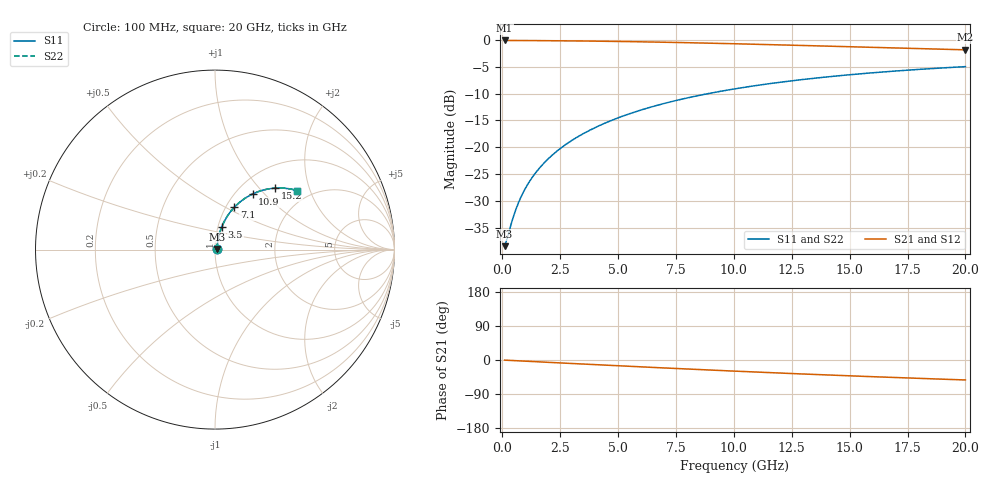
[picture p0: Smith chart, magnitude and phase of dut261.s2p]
! Touchstone file exported from HFSS 2026.1.0
!  File:  C:/ffzhzh/LocalFiles/Ansys_Project_Files/temp_train_TMRDL_261_1782984993_6248.aedt
!  Generated:  05:37:46 PM Jul  2, 2026
!  Design:  TMRDL
!  Project:  temp_train_TMRDL_261_1782984993_6248
! Variables:
!  h_bsmrdl = 2um
!  h_ox = 20um
!  h_rdl = 5um
!  h_sub = 80um
!  h_tmrdl = 2.1um
!  h_tsv = 80um
!  h_via = 3um
!  l_bsmrdl = 300um
!  l_sub = 1133.39um
!  l_tmrdl = 733.39um
!  m_sub = 200um
!  pitch = 39.82um
!  r_tsv = 6um
!  s_tmrdl = 10um
!  w_bsmrdl = 18um
!  w_sub = 500um
!  w_tmrdl = 10.89um
!  x_tsv_center1 = 738.835um
!  x_tsv_center2 = 1056.835um
!  x_tsv_center3 = 1801.115um
!  x_tsv_center4 = 2119.115um
!  x_tsv_center5 = 2863.395um
!  x_tsv_center6 = 3181.395um
# GHz S MA R 50.000000
! Terminal data exported
! Port[1] = TM_RDL1_1_T1
! Port[2] = TM_RDL1_1_T2
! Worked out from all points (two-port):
!   200 points, 100 MHz to 20 GHz, reference 50 ohm
!   highest |S21| = -0.10 dB at 100 MHz (marker M1); lowest = -1.8 dB at 20 GHz (marker M2)
!   |S21| within 3 dB of the highest: start of sweep to end of sweep
!   lowest |S11| = -38.4 dB at 100 MHz (marker M3), VSWR 1.02, Z = 51.1 + j0.409 ohm
!   |S11| at or under -10 dB: start of sweep to 8.896 GHz
!   |S22| runs from -38.4 to -5.0 dB; largest |S21 - S12| = 2.7e-15
!   S11 on the Smith chart (normalised r, x): 100 MHz: 1.02, +0.01; 3.5 GHz: 1.04, +0.27; 7.1 GHz: 1.10, +0.55; 10.9 GHz: 1.19, +0.86; 15.2 GHz: 1.37, +1.22; 20 GHz: 1.70, +1.64
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0.1  0.01197 19.5  0.9887 -0.3  0.9887 -0.3  0.01197 19.5
! Gamma 0 0 0 0
! Port Impedance 50 0 50 0
0.2  0.01392 35.0  0.9887 -0.6  0.9887 -0.6  0.01392 35.0
0.5  0.02324 58.4  0.9882 -1.6  0.9882 -1.6  0.02324 58.4
0.7  0.03042 64.7  0.9877 -2.2  0.9877 -2.2  0.03042 64.7
1  0.04148 69.6  0.9869 -3.1  0.9869 -3.1  0.04148 69.6
1.3  0.05262 72.0  0.986 -4.1  0.986 -4.1  0.05262 72.0
1.7  0.06748 73.6  0.9848 -5.3  0.9848 -5.3  0.06747 73.6
2.2  0.08603 74.3  0.9831 -6.8  0.9831 -6.8  0.08603 74.3
2.8  0.1082 74.2  0.9806 -8.6  0.9806 -8.6  0.1082 74.2
3.5  0.1339 73.3  0.9773 -10.7  0.9773 -10.7  0.1339 73.3
4.2  0.1593 72.1  0.9733 -12.8  0.9733 -12.8  0.1593 72.1
5  0.1878 70.4  0.9681 -15.2  0.9681 -15.2  0.1878 70.5
5.9  0.2192 68.4  0.9613 -17.8  0.9613 -17.8  0.2192 68.4
6.8  0.2496 66.2  0.9537 -20.4  0.9537 -20.4  0.2495 66.2
7.1  0.2595 65.4  0.9511 -21.3  0.9511 -21.3  0.2595 65.5
8.5  0.3041 61.9  0.9376 -25.2  0.9376 -25.2  0.3041 61.9
10.1  0.3517 57.9  0.9206 -29.5  0.9206 -29.5  0.3517 57.9
10.9  0.3741 55.9  0.9117 -31.7  0.9117 -31.7  0.374 55.9
13.4  0.4378 49.9  0.8828 -38.0  0.8828 -38.0  0.4378 49.9
15.2  0.4779 45.7  0.8617 -42.2  0.8617 -42.2  0.4779 45.8
16.7  0.5079 42.4  0.8444 -45.6  0.8444 -45.6  0.5079 42.5
20  0.5638 35.6  0.8086 -52.7  0.8086 -52.7  0.5638 35.6
